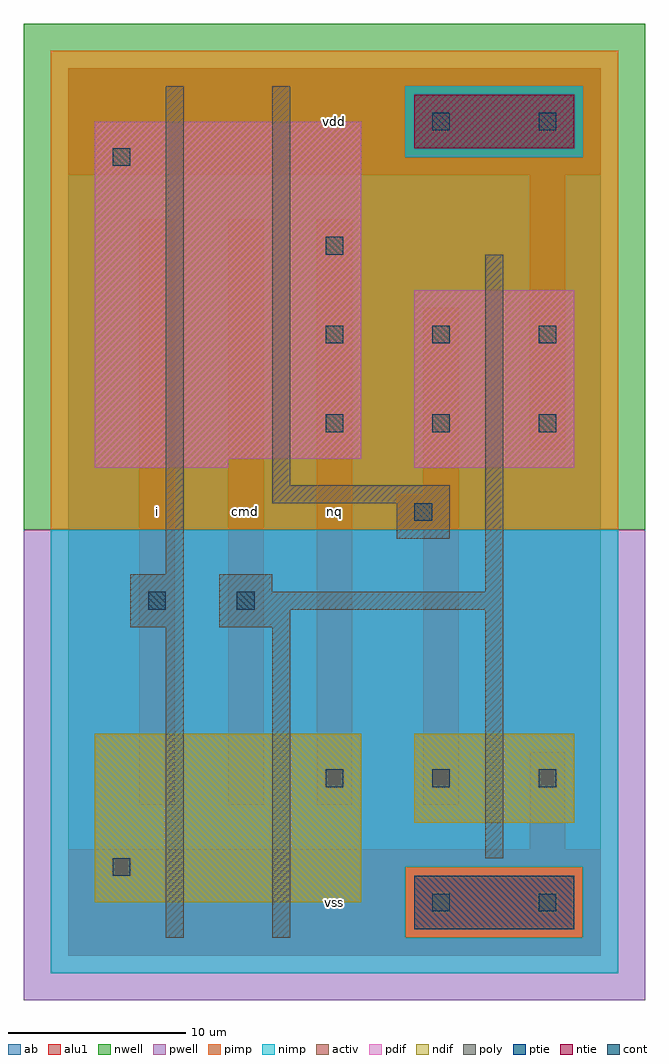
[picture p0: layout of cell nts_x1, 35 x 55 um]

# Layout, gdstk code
import gdstk
lib = gdstk.Library(unit=1e-6, precision=1e-09)
def R(c, l, rs):  # rectangles x0, y0, x1, y1
    for r in rs: c.add(gdstk.rectangle(r[:2], r[2:], *l))
def A(c, l, x, y, w, h, nx, ny, dx, dy):  # array of equal rectangles
    R(c, l, [(x+i*dx, y+j*dy, x+i*dx+w, y+j*dy+h) for i in range(nx) for j in range(ny)])
ndif = (3, 0)
pdif = (4, 0)
ntie = (5, 0)
ptie = (6, 0)
cont = (25, 0)
pwell = (41, 0)
nwell = (42, 0)
activ = (43, 0)
pimp = (44, 0)
nimp = (45, 0)
poly = (46, 0)
alu1 = (49, 0)
ab = (63, 0)

nts_x1 = lib.new_cell('nts_x1')
R(nts_x1, ndif, [(1.5,3,16.5,12.5), (19.5,7.5,28.5,12.5)])
R(nts_x1, pdif, [(1.5,27.5,9,28), (19.5,27.5,28.5,37.5), (1.5,28,16.5,47)])
R(nts_x1, ntie, [(19.5,45.5,28.5,48.5)])
R(nts_x1, ptie, [(19.5,1.5,28.5,4.5)])
A(nts_x1, cont, 14.5, 9.5, 1, 1, 3, 2, 6, 20)
A(nts_x1, cont, 14.5, 34.5, 1, 1, 3, 1, 6, 0)
R(nts_x1, cont, [(20.5,2.5,21.5,3.5), (26.5,2.5,27.5,3.5), (2.5,4.5,3.5,5.5), (4.5,19.5,5.5,20.5), (9.5,19.5,10.5,20.5), (19.5,24.5,20.5,25.5), (14.5,39.5,15.5,40.5), (2.5,44.5,3.5,45.5), (20.5,46.5,21.5,47.5), (26.5,46.5,27.5,47.5)])
R(nts_x1, pwell, [(-2.5,-2.5,32.5,24)])
R(nts_x1, nwell, [(-2.5,24,32.5,52.5)])
R(nts_x1, activ, [(19.5,1.5,28.5,4.5), (1.5,3,16.5,12.5), (19.5,7.5,28.5,12.5), (1.5,27.5,9,28), (19.5,27.5,28.5,37.5), (1.5,28,16.5,47), (19.5,45.5,28.5,48.5)])
R(nts_x1, pimp, [(19,1,29,5), (-1,24,31,45), (-1,45,19,49), (29,45,31,49), (-1,49,31,51)])
R(nts_x1, nimp, [(-1,-1,31,1), (-1,1,19,5), (29,1,31,5), (-1,5,31,24), (19,45,29,49)])
R(nts_x1, poly, [(5.5,1,6.5,18.5), (11.5,1,12.5,18.5), (23.5,5.5,24.5,19.5), (3.5,18.5,6.5,21.5), (8.5,18.5,12.5,19.5), (8.5,19.5,24.5,20.5), (8.5,20.5,11.5,21.5), (23.5,20.5,24.5,39.5), (5.5,21.5,6.5,49), (18.5,23.5,21.5,25.5), (11.5,25.5,21.5,26.5), (11.5,26.5,12.5,49)])
R(nts_x1, alu1, [(0,0,30,6), (0,0,30,6), (26,6,28,11.5), (26,6,28,11.5), (4,8.5,6,41.5), (4,8.5,6,41.5), (9,8.5,11,41.5), (9,8.5,11,41.5), (14,8.5,16,41.5), (14,8.5,16,41.5), (20,8.5,22,24), (20,8.5,22,24), (18.5,24,22,26), (18.5,24,22,26), (20,26,22,36.5), (20,26,22,36.5), (26,28.5,28,44), (26,28.5,28,44), (0,44,30,50), (0,44,30,50)])
R(nts_x1, ab, [(0,0,30,50)])
nts_x1.add(gdstk.Label('i', (5,25), layer=49, texttype=0))
nts_x1.add(gdstk.Label('vss', (15,3), layer=49, texttype=0))
nts_x1.add(gdstk.Label('cmd', (10,25), layer=49, texttype=0))
nts_x1.add(gdstk.Label('nq', (15,25), layer=49, texttype=0))
nts_x1.add(gdstk.Label('vdd', (15,47), layer=49, texttype=0))

lib.write_gds('nts_x1.gds')
